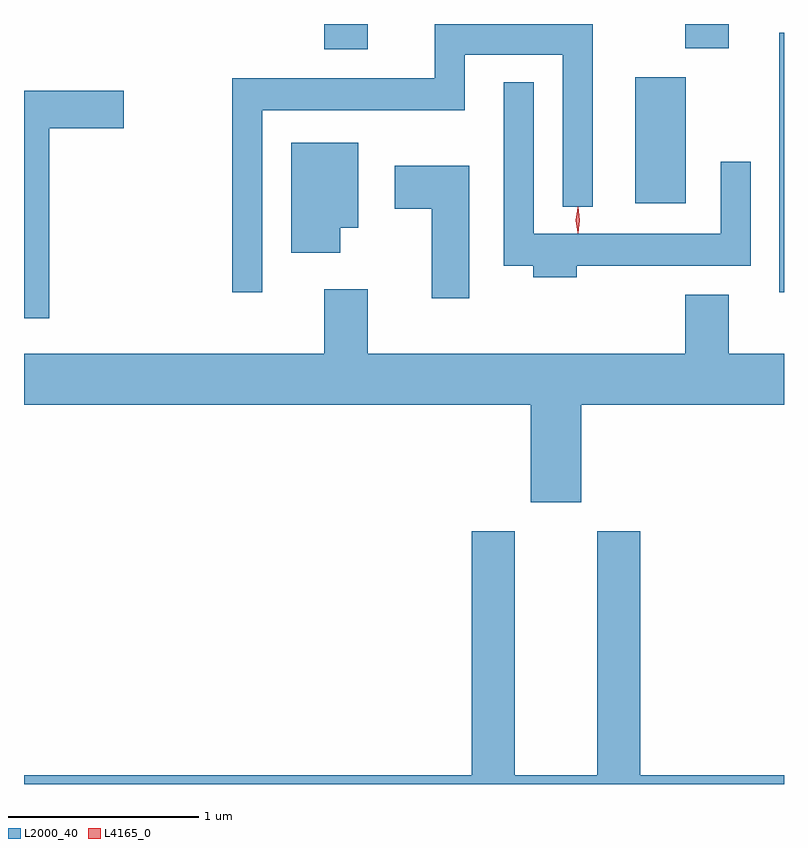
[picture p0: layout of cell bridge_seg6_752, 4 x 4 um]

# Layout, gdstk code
import gdstk
lib = gdstk.Library(unit=1e-6, precision=1e-09)
def R(c, l, rs):  # rectangles x0, y0, x1, y1
    for r in rs: c.add(gdstk.rectangle(r[:2], r[2:], *l))
def P(c, l, *ps):  # polygons
    for p in ps: c.add(gdstk.Polygon(p, *l))
L2000_40 = (2000, 40)
L4165_0 = (4165, 0)

bridge_seg6_752 = lib.new_cell('bridge_seg6_752')
R(bridge_seg6_752, L2000_40, [(453.556,1579.488,453.58,1580.854), (452.796,1579.956,453.064,1580.619), (451.161,1580.766,451.389,1580.899), (453.061,1580.771,453.289,1580.899)])
P(bridge_seg6_752, L2000_40, [(450.834,1580.446),(451.899,1580.446),(451.899,1580.736),(452.416,1580.736),(452.416,1579.938),(452.574,1579.938),(452.574,1580.899),(451.741,1580.899),(451.741,1580.614),(450.676,1580.614),(450.676,1579.488),(450.834,1579.488)],
  [(452.489,1579.626),(453.404,1579.626),(453.404,1580.173),(453.246,1580.173),(453.246,1579.794),(452.264,1579.794),(452.264,1580.593),(452.106,1580.593),(452.106,1579.626),(452.261,1579.626),(452.261,1579.566),(452.489,1579.566)],
  [(449.714,1580.351),(450.104,1580.351),(450.104,1580.549),(449.58,1580.549),(449.58,1579.351),(449.714,1579.351)],
  [(451.244,1579.826),(451.339,1579.826),(451.339,1580.274),(450.986,1580.274),(450.986,1579.696),(451.244,1579.696)],
  [(451.924,1580.154),(451.531,1580.154),(451.531,1579.926),(451.726,1579.926),(451.726,1579.456),(451.924,1579.456)],
  [(451.389,1579.504),(451.161,1579.504),(451.161,1579.164),(449.58,1579.164),(449.58,1578.896),(452.246,1578.896),(452.246,1578.381),(452.514,1578.381),(452.514,1578.896),(453.58,1578.896),(453.58,1579.164),(453.289,1579.164),(453.289,1579.474),(453.061,1579.474),(453.061,1579.164),(451.389,1579.164)],
  [(453.58,1576.944),(452.824,1576.944),(452.824,1578.229),(452.596,1578.229),(452.596,1576.944),(452.164,1576.944),(452.164,1578.229),(451.936,1578.229),(451.936,1576.944),(449.58,1576.944),(449.58,1576.899),(453.58,1576.899)])
P(bridge_seg6_752, L4165_0, [(452.496,1579.797),(452.495,1579.798),(452.486,1579.867),(452.495,1579.936),(452.496,1579.936),(452.496,1579.936),(452.506,1579.867),(452.496,1579.798)],
  [(452.494,1579.8),(452.485,1579.866),(452.494,1579.932),(452.494,1579.933),(452.495,1579.932),(452.504,1579.866),(452.495,1579.8),(452.495,1579.8)])

lib.write_gds('bridge_seg6_752.gds')
